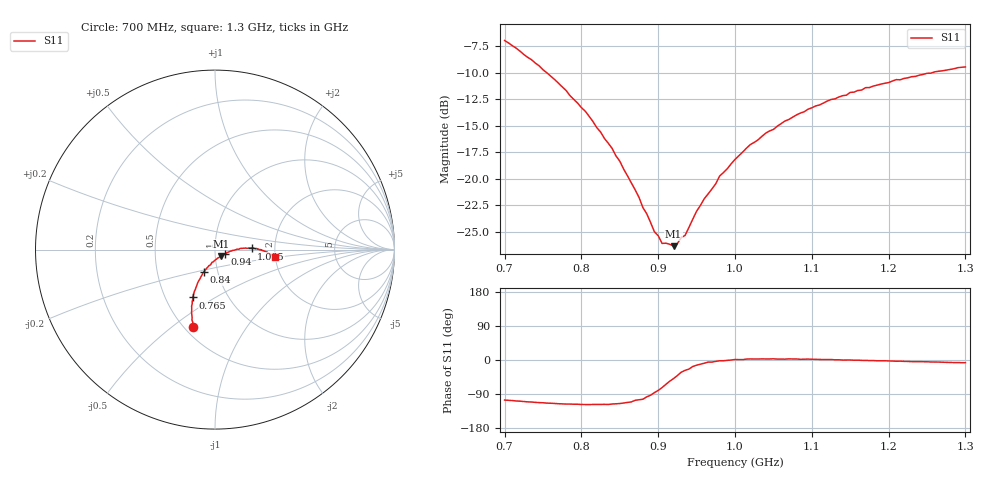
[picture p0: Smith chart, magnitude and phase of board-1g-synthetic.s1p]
! Synthetic measurement of a built board, made up for SmithChart.Online (scripts/synth-board.mjs)
! Not a measurement: the "Measure, compare, retune" network as built (shunt L 10 nH, series C 2.7 pF,
! 0402, FR-4 1.6 mm, one 0.3 mm via) on 100 - j50 ohm, with known drifts:
! +8 % on the shunt L, +0.3 pF on the pads of the series C, noise 0.001 in Gamma
# GHZ S RI R 50
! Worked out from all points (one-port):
!   121 points, 700 MHz to 1.3 GHz, reference 50 ohm
!   lowest |S11| = -26.4 dB at 920 MHz (marker M1), VSWR 1.10, Z = 53.1 - j3.85 ohm
!   |S11| at or under -10 dB: 754.6 MHz to 1.257 GHz (502.6 MHz wide, 50 % of centre)
!   S11 on the Smith chart (normalised r, x): 700 MHz: 0.55, -0.60; 765 MHz: 0.69, -0.40; 840 MHz: 0.86, -0.22; 940 MHz: 1.11, -0.05; 1.085 GHz: 1.51, +0.02; 1.3 GHz: 1.99, -0.19
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0.7  -0.1215 -0.4316
0.73  -0.1308 -0.3498
0.765  -0.1226 -0.2666
0.775  -0.1179 -0.2438
0.805  -0.096 -0.1844
0.84  -0.0611 -0.1246
0.85  -0.0509 -0.1095
0.875  -0.021 -0.0788
0.88  -0.0171 -0.071
0.895  0.0037 -0.056
0.9  0.00911 -0.053
0.905  0.0146 -0.0472
0.92  0.0315 -0.0362
0.925  0.0373 -0.0324
0.93  0.0446 -0.0281
0.935  0.0479 -0.0248
0.94  0.0537 -0.0239
0.95  0.0681 -0.0166
0.975  0.0944 -0.0059
0.98  0.1027 -0.00368
1  0.1231 0.00273
1.02  0.1445 0.00712
1.04  0.1635 0.00784
1.075  0.1945 0.0092
1.085  0.2035 0.00665
1.15  0.255 -6e-06
1.225  0.2982 -0.0195
1.3  0.3334 -0.0423
